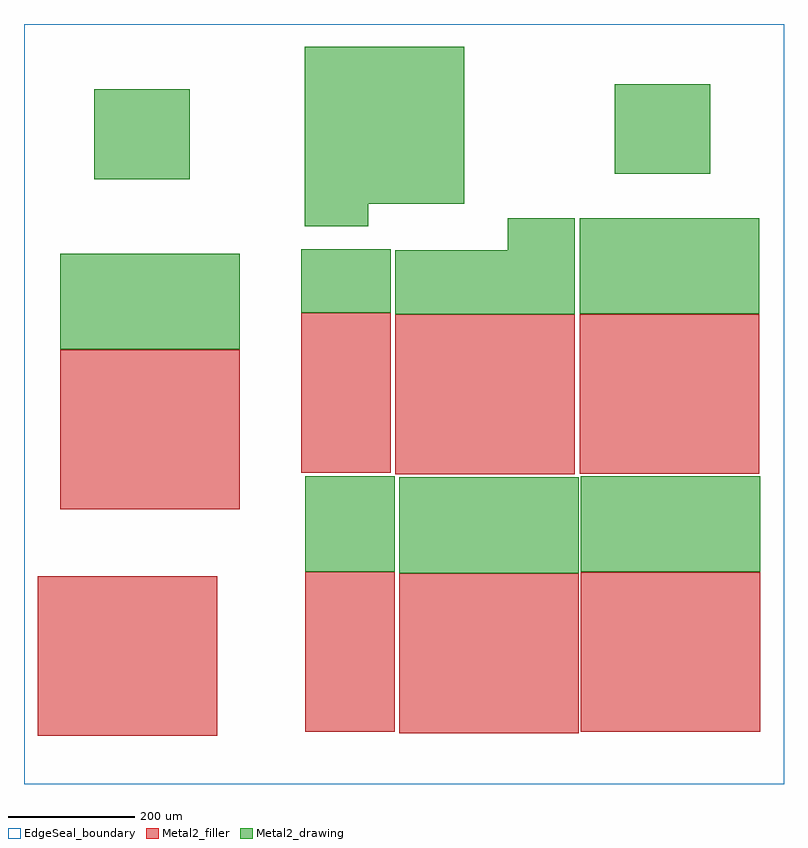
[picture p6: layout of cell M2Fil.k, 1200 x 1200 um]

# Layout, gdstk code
import gdstk
lib = gdstk.Library(unit=1e-6, precision=1e-09)
def R(c, l, rs):  # rectangles x0, y0, x1, y1
    for r in rs: c.add(gdstk.rectangle(r[:2], r[2:], *l))
def A(c, l, x, y, w, h, nx, ny, dx, dy):  # array of equal rectangles
    R(c, l, [(x+i*dx, y+j*dy, x+i*dx+w, y+j*dy+h) for i in range(nx) for j in range(ny)])
Metal2_drawing = (10, 0)
Metal2_filler = (10, 22)
EdgeSeal_boundary = (39, 4)

m2fil_k = lib.new_cell('M2Fil.k')
A(m2fil_k, Metal2_drawing, 592.615, 333.007, 35, 50, 8, 3, 35.5, 50.5)
A(m2fil_k, Metal2_drawing, 879.029, 334.867, 35, 50, 8, 3, 35.5, 50.5)
A(m2fil_k, Metal2_drawing, 444.27, 335.255, 35, 50, 4, 3, 35.5, 50.5)
A(m2fil_k, Metal2_drawing, 56.984, 686.375, 35, 50, 8, 3, 35.5, 50.5)
A(m2fil_k, Metal2_drawing, 586.217, 741.946, 35, 50, 8, 2, 35.5, 50.5)
A(m2fil_k, Metal2_drawing, 877.169, 742.17, 35, 50, 8, 3, 35.5, 50.5)
A(m2fil_k, Metal2_drawing, 437.872, 744.194, 35, 50, 4, 2, 35.5, 50.5)
A(m2fil_k, Metal2_drawing, 763.717, 842.946, 35, 50, 3, 1, 35.5, 0)
A(m2fil_k, Metal2_drawing, 443.264, 916.185, 50, 35, 5, 7, 50.5, 35.5)
A(m2fil_k, Metal2_drawing, 110.744, 955.09, 50, 35, 3, 4, 50.5, 35.5)
A(m2fil_k, Metal2_drawing, 932.374, 963.525, 50, 35, 3, 4, 50.5, 35.5)
R(m2fil_k, Metal2_drawing, [(443.264,880.685,493.264,915.685), (493.764,880.685,543.764,915.685)])
A(m2fil_k, Metal2_filler, 21.749, 75.975, 35, 50, 8, 5, 35.5, 50.5)
A(m2fil_k, Metal2_filler, 592.615, 80.507, 35, 50, 8, 5, 35.5, 50.5)
A(m2fil_k, Metal2_filler, 879.029, 82.367, 35, 50, 8, 5, 35.5, 50.5)
A(m2fil_k, Metal2_filler, 444.27, 82.755, 35, 50, 4, 5, 35.5, 50.5)
A(m2fil_k, Metal2_filler, 56.984, 433.875, 35, 50, 8, 5, 35.5, 50.5)
A(m2fil_k, Metal2_filler, 586.217, 489.446, 35, 50, 8, 5, 35.5, 50.5)
A(m2fil_k, Metal2_filler, 877.169, 489.67, 35, 50, 8, 5, 35.5, 50.5)
A(m2fil_k, Metal2_filler, 437.872, 491.694, 35, 50, 4, 5, 35.5, 50.5)
R(m2fil_k, EdgeSeal_boundary, [(0,0,1200,1200)])

lib.write_gds('M2Fil.k.gds')
